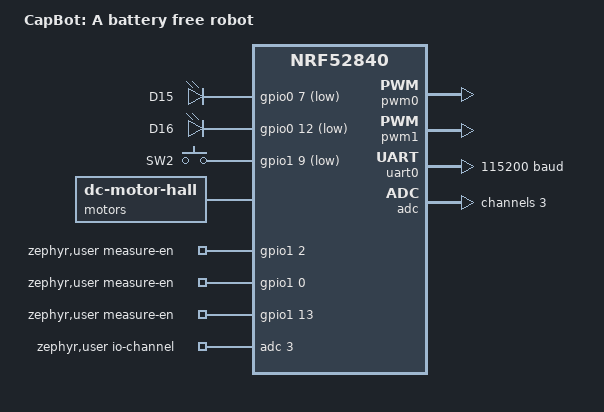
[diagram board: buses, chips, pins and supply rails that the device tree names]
/dts-v1/;
#include <nordic/nrf52840_qiaa.dtsi>
#include "capbot-pinctrl.dtsi"

/ {
    model = "CapBot: A battery free robot";
    compatible = "kul,capbot";

    chosen {
        zephyr,console = &uart0;
        zephyr,sram = &sram0;
        zephyr,flash = &flash0;
        zephyr,code-partition = &slot0_partition;
    };

    leds {
        compatible = "gpio-leds";
        led0: led_0 {
            gpios = <&gpio0 7 GPIO_ACTIVE_LOW>;
            label = "D15";
        };
        led1: led_1 {
            gpios = <&gpio0 12 GPIO_ACTIVE_LOW>;
            label = "D16";
        };
    };

    buttons {
        compatible = "gpio-keys";
        button0: button_0 {
            gpios = <&gpio1 9 GPIO_ACTIVE_LOW>;
            label = "SW2";
        };
    };

    motors {
        compatible = "dc-motor-hall";

        motor1: motor_1 {
            // Switch pins for left-side motors
            pwms = <&pwm1 0 PWM_MSEC(20) PWM_POLARITY_NORMAL>,
                   <&pwm0 0 PWM_MSEC(20) PWM_POLARITY_NORMAL>;

            hall-gpios = <&gpio1 6 GPIO_ACTIVE_HIGH>,
                         <&gpio1 4 GPIO_ACTIVE_HIGH>;

        };

        motor2: motor_2 {
            pwms = <&pwm0 1 PWM_MSEC(20) PWM_POLARITY_NORMAL>,
                   <&pwm1 1 PWM_MSEC(20) PWM_POLARITY_NORMAL>;
            hall-gpios = <&gpio0 20 GPIO_ACTIVE_HIGH>,
                         <&gpio0 22 GPIO_ACTIVE_HIGH>;
        };

        motor3: motor_3 {
            // Switch pins for left-side motors
            pwms = <&pwm1 2 PWM_MSEC(20) PWM_POLARITY_NORMAL>,
                   <&pwm0 2 PWM_MSEC(20) PWM_POLARITY_NORMAL>;
            hall-gpios = <&gpio0 3 GPIO_ACTIVE_HIGH>,
                         <&gpio0 2 GPIO_ACTIVE_HIGH>;
        };

        motor4: motor_4 {
            pwms = <&pwm0 3 PWM_MSEC(20) PWM_POLARITY_NORMAL>,
                   <&pwm1 3 PWM_MSEC(20) PWM_POLARITY_NORMAL>;
            hall-gpios = <&gpio0 28 GPIO_ACTIVE_HIGH>,
                         <&gpio0 29 GPIO_ACTIVE_HIGH>;
        };
    };

    zephyr,user {
        io-channels = <&adc 3>;
        measure-en-gpios = <&gpio1 2 GPIO_ACTIVE_HIGH>,
                           <&gpio1 0 GPIO_ACTIVE_HIGH>,
                           <&gpio1 13 GPIO_ACTIVE_HIGH>;
    };

    aliases {
        // Aliases for use in software
        d15 = &led0;
        d16 = &led1;
        sw2 = &button0;
        mfl = &motor1;
        mfr = &motor2;
        mbl = &motor3;
        mbr = &motor4;
    };
};

&flash0 {
    partitions {
        compatible = "fixed-partitions";
        #address-cells = <1>;
        #size-cells = <1>;

        boot_partition: partition@0 {
            label = "mcuboot";
            reg = <0x00000000 DT_SIZE_K(48)>;
        };

        slot0_partition: partition@c000 {
            label = "image-0";
            reg = <0x0000c000 DT_SIZE_K(472)>;
        };

        slot1_partition: partition@82000 {
            label = "image-1";
            reg = <0x00082000 DT_SIZE_K(472)>;
        };

        storage_partition: partition@f8000 {
            label = "storage";
            reg = <0x000f8000 DT_SIZE_K(32)>;
        };
    };
};

&gpiote {
    status = "okay";
};

&gpio0 {
    status = "okay";
};

&gpio1 {
    status = "okay";
};

&uicr {
    nfct-pins-as-gpios;
};

&nfct {
    status = "disabled";
};

&pwm0 {
    status = "okay";
    pinctrl-0 = <&pwm0_default>;
    pinctrl-names = "default";
};

&pwm1 {
    status = "okay";
    pinctrl-0 = <&pwm1_default>;
    pinctrl-names = "default";
};


&uart0 {
    status = "okay";
    current-speed = <115200>;
    pinctrl-0 = <&uart0_default>;
    pinctrl-1 = <&uart0_sleep>;
    pinctrl-names = "default", "sleep";
};


&adc {
    #address-cells = <1>;
    #size-cells = <0>;
    status = "okay";

    ain_3: channel@3 {
        reg = <3>;
        zephyr,gain = "ADC_GAIN_4"; /* nRF52840 DOCS: ΔVmeasure = Vref / GAIN */
        zephyr,reference = "ADC_REF_INTERNAL"; /* nRF52840 DOCS: Internal Vref = 600mV */
        zephyr,acquisition-time = <ADC_ACQ_TIME(ADC_ACQ_TIME_MICROSECONDS, 40)>; /* nRF52840 DOCS: input R > 400k => 40ms */
        zephyr,input-positive = <NRF_SAADC_AIN3>; /* P0.05 */
        zephyr,resolution = <14>;
    };

};

&temp {
    status = "disabled";
};

&cryptocell {
    status = "disabled";
};

&ecb {
    status = "disabled";
};

&ccm {
    status = "disabled";
};


&acl {
    status = "disabled";
};
